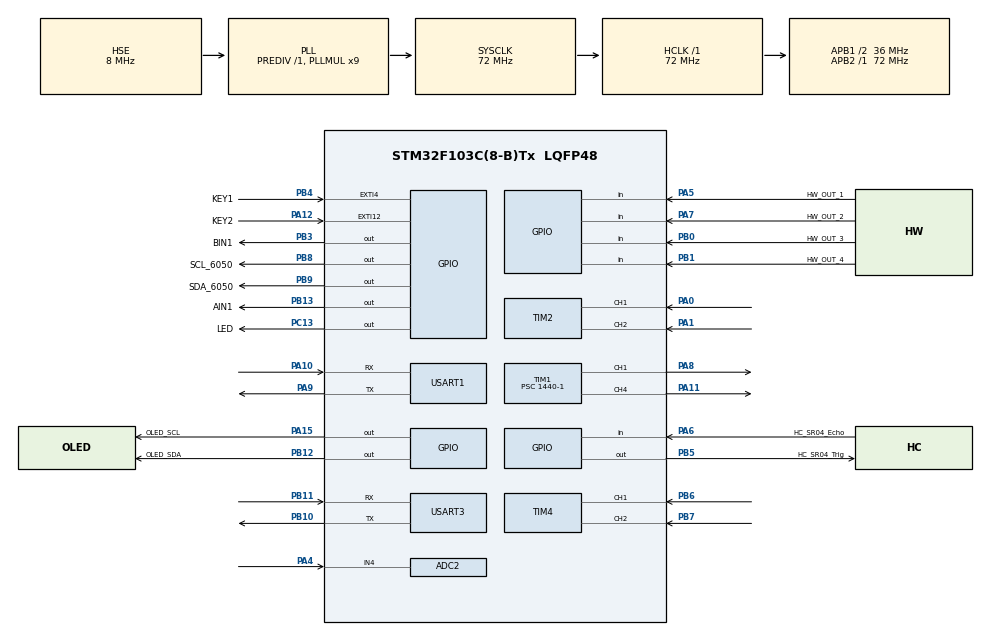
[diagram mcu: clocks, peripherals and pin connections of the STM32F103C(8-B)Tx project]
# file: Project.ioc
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ADC2.Channel-0\#ChannelRegularConversion=ADC_CHANNEL_4
ADC2.NbrOfConversionFlag=1
ADC2.Rank-0\#ChannelRegularConversion=1
ADC2.SamplingTime-0\#ChannelRegularConversion=ADC_SAMPLETIME_13CYCLES_5
FREERTOS.BinarySemaphores01=KeySem,Dynamic,NULL,Depleted
FREERTOS.INCLUDE_uxTaskGetStackHighWaterMark=1
FREERTOS.Mutexes01=OLED_Mutex,Dynamic,NULL,Available
FREERTOS.Queues01=ModeQueue,16,int8_t,0,Dynamic,NULL,NULL;UltrasonicQueue,16,uint32_t,0,Dynamic,NULL,NULL
FREERTOS.Tasks01=StopTask,2,128,StartStopTask,Default,NULL,Dynamic,NULL,NULL;InputTask,1,128,StartInputTask,Default,NULL,Dynamic,NULL,NULL;OLEDTask,-1,200,StartOLEDTask,Default,NULL,Dynamic,NULL,NULL;MultiModeTask,0,156,StartMultiModTask,Default,NULL,Dynamic,NULL,NULL
FREERTOS.configTOTAL_HEAP_SIZE=3500
Mcu.Family=STM32F1
Mcu.Name=STM32F103C(8-B)Tx
Mcu.Package=LQFP48
NVIC.EXTI15_10_IRQn=true\:5\:0\:true\:false\:true\:true\:true\:true\:true
NVIC.EXTI4_IRQn=true\:5\:0\:true\:false\:true\:true\:true\:true\:true
NVIC.PriorityGroup=NVIC_PRIORITYGROUP_4
NVIC.TIM1_UP_IRQn=true\:5\:0\:false\:false\:true\:true\:true\:true\:true
NVIC.TIM2_IRQn=true\:5\:0\:false\:false\:true\:true\:true\:true\:true
NVIC.TIM3_IRQn=true\:15\:0\:false\:false\:true\:false\:false\:true\:true
NVIC.TIM4_IRQn=true\:5\:0\:false\:false\:true\:true\:true\:true\:true
NVIC.TimeBase=TIM3_IRQn
NVIC.TimeBaseIP=TIM3
NVIC.USART1_IRQn=true\:5\:0\:false\:false\:true\:true\:true\:true\:true
NVIC.USART3_IRQn=true\:5\:0\:false\:false\:true\:true\:true\:true\:true
PA0-WKUP.GPIO_PuPd=GPIO_PULLUP
PA0-WKUP.Signal=S_TIM2_CH1_ETR
PA1.GPIO_PuPd=GPIO_PULLUP
PA1.Signal=S_TIM2_CH2
PA10.Mode=Asynchronous
PA10.Signal=USART1_RX
PA11.Signal=S_TIM1_CH4
PA12.GPIO_Label=KEY2
PA12.GPIO_PuPd=GPIO_PULLUP
PA12.Signal=GPXTI12
PA13.Mode=Serial_Wire
PA13.Signal=SYS_JTMS-SWDIO
PA14.Mode=Serial_Wire
PA14.Signal=SYS_JTCK-SWCLK
PA15.GPIO_Label=OLED_SCL
PA15.GPIO_PuPd=GPIO_PULLUP
PA15.PinState=GPIO_PIN_SET
PA15.Signal=GPIO_Output
PA4.Signal=ADCx_IN4
PA5.GPIO_Label=HW_OUT_1
PA5.Signal=GPIO_Input
PA6.GPIO_Label=HC_SR04_Echo
PA6.Signal=GPIO_Input
PA7.GPIO_Label=HW_OUT_2
PA7.Signal=GPIO_Input
PA8.Signal=S_TIM1_CH1
PA9.Mode=Asynchronous
PA9.Signal=USART1_TX
PB0.GPIO_Label=HW_OUT_3
PB0.Signal=GPIO_Input
PB1.GPIO_Label=HW_OUT_4
PB1.Signal=GPIO_Input
PB10.Mode=Asynchronous
PB10.Signal=USART3_TX
PB11.Mode=Asynchronous
PB11.Signal=USART3_RX
PB12.GPIO_Label=OLED_SDA
PB12.GPIO_PuPd=GPIO_PULLUP
PB12.PinState=GPIO_PIN_SET
PB12.Signal=GPIO_Output
PB13.GPIO_Label=AIN1
PB13.Signal=GPIO_Output
PB3.GPIO_Label=BIN1
PB3.Signal=GPIO_Output
PB4.GPIO_Label=KEY1
PB4.GPIO_PuPd=GPIO_PULLDOWN
PB4.Signal=GPXTI4
PB5.GPIO_Label=HC_SR04_Trig
PB5.Signal=GPIO_Output
PB6.GPIO_PuPd=GPIO_PULLUP
PB6.Signal=S_TIM4_CH1
PB7.GPIO_PuPd=GPIO_PULLUP
PB7.Signal=S_TIM4_CH2
PB8.GPIO_Label=SCL_6050
PB8.PinState=GPIO_PIN_SET
PB8.Signal=GPIO_Output
PB9.GPIO_Label=SDA_6050
PB9.PinState=GPIO_PIN_SET
PB9.Signal=GPIO_Output
PC13-TAMPER-RTC.GPIO_Label=LED
PC13-TAMPER-RTC.Signal=GPIO_Output
PD0-OSC_IN.Mode=HSE-External-Oscillator
PD0-OSC_IN.Signal=RCC_OSC_IN
PD1-OSC_OUT.Mode=HSE-External-Oscillator
PD1-OSC_OUT.Signal=RCC_OSC_OUT
ProjectManager.HeapSize=0x800
ProjectManager.StackSize=0x800
ProjectManager.TargetToolchain=CMake
RCC.ADCPresc=RCC_ADCPCLK2_DIV6
RCC.AHBFreq_Value=72000000
RCC.APB1CLKDivider=RCC_HCLK_DIV2
RCC.APB1Freq_Value=36000000
RCC.APB1TimFreq_Value=72000000
RCC.APB2Freq_Value=72000000
RCC.APB2TimFreq_Value=72000000
RCC.HCLKFreq_Value=72000000
RCC.PLLMUL=RCC_PLL_MUL9
RCC.PLLSourceVirtual=RCC_PLLSOURCE_HSE
RCC.SYSCLKFreq_VALUE=72000000
RCC.SYSCLKSource=RCC_SYSCLKSOURCE_PLLCLK
RCC.USBFreq_Value=72000000
SH.ADCx_IN4.0=ADC2_IN4,IN4
SH.S_TIM1_CH1.0=TIM1_CH1,PWM Generation1 CH1
SH.S_TIM1_CH4.0=TIM1_CH4,PWM Generation4 CH4
SH.S_TIM2_CH1_ETR.0=TIM2_CH1,Encoder_Interface
SH.S_TIM2_CH2.0=TIM2_CH2,Encoder_Interface
SH.S_TIM4_CH1.0=TIM4_CH1,Encoder_Interface
SH.S_TIM4_CH2.0=TIM4_CH2,Encoder_Interface
TIM1.AutoReloadPreload=TIM_AUTORELOAD_PRELOAD_ENABLE
TIM1.Channel-PWM\ Generation1\ CH1=TIM_CHANNEL_1
TIM1.Channel-PWM\ Generation4\ CH4=TIM_CHANNEL_4
TIM1.Period=100-1
TIM1.Prescaler=1440-1
TIM1.Pulse-PWM\ Generation1\ CH1=50
TIM1.Pulse-PWM\ Generation4\ CH4=50
TIM2.EncoderMode=TIM_ENCODERMODE_TI12
TIM2.IC1Filter=6
TIM4.EncoderMode=TIM_ENCODERMODE_TI12
TIM4.IC1Filter=6
USART1.VirtualMode=VM_ASYNC
USART3.VirtualMode=VM_ASYNC
VP_FREERTOS_VS_CMSIS_V1.Mode=CMSIS_V1
VP_SYS_VS_tim3.Mode=TIM3
VP_TIM1_VS_ClockSourceINT.Mode=Internal
board=custom

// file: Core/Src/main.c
/* USER CODE BEGIN Header */
/**
  ******************************************************************************
  * @file           : main.c
  * @brief          : Main program body
  ******************************************************************************
  * @attention
  *
  * Copyright (c) 2026 STMicroelectronics.
  * All rights reserved.
  *
  * This software is licensed under terms that can be found in the LICENSE file
  * in the root directory of this software component.
  * If no LICENSE file comes with this software, it is provided AS-IS.
  *
  ******************************************************************************
  */
/* USER CODE END Header */
#include "main.h"
#include "cmsis_os.h"
#include "adc.h"
#include "tim.h"
#include "usart.h"
#include "gpio.h"

/* USER CODE BEGIN Includes */
#include "oled.h"
#include <stdint.h>
#include <stdio.h>
#include "Motor.h"
#include "PID.h"
#include "mpu6050.h"
#include "inv_mpu.h"
#include "inv_mpu_dmp_motion_driver.h"
#include <string.h>
/* USER CODE END Includes */

/* USER CODE BEGIN PD */
void OLED_Show_base(void);
/* USER CODE END PD */

/* USER CODE BEGIN PM */
// 外部声明OLED互斥锁（在freertos.c中定义）
extern osMutexId OLED_MutexHandle;

short Encoder1Count = 0;
short Encoder2Count = 0;
float Motor1Speed = 0.00;
float Motor2Speed = 0.00;
int Motor1PWM = 0;
int Motor2PWM = 0;
float Mileage;
uint16_t TimerCount = 0;

uint8_t Usart1_ReadBuf[256];	//串口1 缓冲数组
uint8_t Usart1_ReadCount = 0;	//串口1 接收字节计数
uint8_t Usart3ReceiveData;  //保存串口三接收的数据

float p,i,d,a;

uint8_t OledString[50];
uint8_t Usart3String[50];

float pitch,roll,yaw; // 俯仰角 横滚角 航向角

volatile int8_t carmode;
/* USER CODE END PM */

/* USER CODE BEGIN PV */
extern tPid pidMotor1Speed;
extern tPid pidMotor2Speed;
/* USER CODE END PV */

void SystemClock_Config(void);
void MX_FREERTOS_Init(void);

int main(void)
{

  /* MCU Configuration--------------------------------------------------------*/

  /* Reset of all peripherals, Initializes the Flash interface and the Systick. */
  HAL_Init();

  /* USER CODE BEGIN Init */
	PID_init();
  /* USER CODE END Init */

  /* Configure the system clock */
  SystemClock_Config();

  /* Initialize all configured peripherals */
  MX_GPIO_Init();
  MX_USART1_UART_Init();
  MX_TIM1_Init();
  MX_TIM2_Init();
  MX_TIM4_Init();
  MX_ADC2_Init();
  MX_USART3_UART_Init();
  /* USER CODE BEGIN 2 */
	OLED_Init();
	OLED_Clear();

	HAL_TIM_Base_Start_IT(&htim1);                //开启定时器1 中断
	__HAL_UART_ENABLE_IT(&huart1,UART_IT_RXNE);	//开启串口1接收中断
	HAL_UART_Receive_IT(&huart3,&Usart3ReceiveData,1);

	HAL_TIM_PWM_Start(&htim1,TIM_CHANNEL_1);//开启定时器1 通道1 PWM输出
	HAL_TIM_PWM_Start(&htim1,TIM_CHANNEL_4);//开启定时器1 通道4 PWM输出

	HAL_TIM_Encoder_Start(&htim2,TIM_CHANNEL_ALL);//开启定时器2
	HAL_TIM_Encoder_Start(&htim4,TIM_CHANNEL_ALL);//开启定时器4
	HAL_TIM_Base_Start_IT(&htim2);				//开启定时器2 中断
	HAL_TIM_Base_Start_IT(&htim4);        //开启定时器4 中断

  HAL_Delay(500);//延时0.5秒 6050上电稳定后初始化
  MPU_Init(); //初始化MPU6050
  while(MPU_Init()!=0);
  while(mpu_dmp_init()!=0);

	//motorPidSetSpeed(-1,-1);

  /* USER CODE END 2 */

  /* Call init function for freertos objects (in cmsis_os2.c) */
  MX_FREERTOS_Init();

  /* Start scheduler */
  osKernelStart();

  /* We should never get here as control is now taken by the scheduler */

  /* Infinite loop */
  while (1)
  {

    /* USER CODE BEGIN 3 */
    // 注意：osKernelStart()后此循环不会执行，所有逻辑已移至MultiModeTask
  }
  /* USER CODE END 3 */
}

void SystemClock_Config(void)
{
  RCC_OscInitTypeDef RCC_OscInitStruct = {0};
  RCC_ClkInitTypeDef RCC_ClkInitStruct = {0};
  RCC_PeriphCLKInitTypeDef PeriphClkInit = {0};

  /** Initializes the RCC Oscillators according to the specified parameters
  * in the RCC_OscInitTypeDef structure.
  */
  RCC_OscInitStruct.OscillatorType = RCC_OSCILLATORTYPE_HSE;
  RCC_OscInitStruct.HSEState = RCC_HSE_ON;
  RCC_OscInitStruct.HSEPredivValue = RCC_HSE_PREDIV_DIV1;
  RCC_OscInitStruct.HSIState = RCC_HSI_ON;
  RCC_OscInitStruct.PLL.PLLState = RCC_PLL_ON;
  RCC_OscInitStruct.PLL.PLLSource = RCC_PLLSOURCE_HSE;
  RCC_OscInitStruct.PLL.PLLMUL = RCC_PLL_MUL9;
  if (HAL_RCC_OscConfig(&RCC_OscInitStruct) != HAL_OK)
  {
    Error_Handler();
  }

  /** Initializes the CPU, AHB and APB buses clocks
  */
  RCC_ClkInitStruct.ClockType = RCC_CLOCKTYPE_HCLK|RCC_CLOCKTYPE_SYSCLK
                              |RCC_CLOCKTYPE_PCLK1|RCC_CLOCKTYPE_PCLK2;
  RCC_ClkInitStruct.SYSCLKSource = RCC_SYSCLKSOURCE_PLLCLK;
  RCC_ClkInitStruct.AHBCLKDivider = RCC_SYSCLK_DIV1;
  RCC_ClkInitStruct.APB1CLKDivider = RCC_HCLK_DIV2;
  RCC_ClkInitStruct.APB2CLKDivider = RCC_HCLK_DIV1;

  if (HAL_RCC_ClockConfig(&RCC_ClkInitStruct, FLASH_LATENCY_2) != HAL_OK)
  {
    Error_Handler();
  }
  PeriphClkInit.PeriphClockSelection = RCC_PERIPHCLK_ADC;
  PeriphClkInit.AdcClockSelection = RCC_ADCPCLK2_DIV6;
  if (HAL_RCCEx_PeriphCLKConfig(&PeriphClkInit) != HAL_OK)
  {
    Error_Handler();
  }
}

/* USER CODE BEGIN 4 */

/*******************
*  @brief  OLED基本显示函数
*  @param
*  @return
*
*******************/
void OLED_Show_base(void)
{
  //OLED_Clear();
  sprintf((char *)OledString,"V1:%.2fV2:%.2f",Motor1Speed,Motor2Speed);//显示两个电机的速度
  OLED_ShowString(0,0,OledString,12);

  sprintf((char *)OledString,"Mileage:%.2f   ",Mileage);//显示里程数
  OLED_ShowString(0,1,OledString,12);

  sprintf((char*)OledString, "U:%.2fV", adcGetBatteryVoltage());//显示电池电压
  OLED_ShowString(0,2,OledString,12);
}

/* USER CODE END 4 */

void HAL_TIM_PeriodElapsedCallback(TIM_HandleTypeDef *htim)
{
  /* USER CODE BEGIN Callback 0 */
	if(htim == &htim1)//htim1 500HZ  2ms 中断一次
	{
		TimerCount++;
		if(TimerCount %5 == 0)//每10ms执行一次
		{
			Encoder1Count = (short)__HAL_TIM_GET_COUNTER(&htim2);
			Encoder2Count = -(short)__HAL_TIM_GET_COUNTER(&htim4);
			//清零计数值
			__HAL_TIM_SET_COUNTER(&htim2,0);
			__HAL_TIM_SET_COUNTER(&htim4,0);

			//Motor1Speed 最大值 ≈ 10.4（rps）
			Motor1Speed = (float)Encoder1Count*100/9.6/11/4;
			Motor2Speed = (float)Encoder2Count*100/9.6/11/4;

		}
		if(TimerCount %10 ==0)//每20ms一次
		{
		 /*里程数(cm) += 时间周期（s）*车轮转速(转/s)*车轮周长(cm)*/
		  Mileage += 0.02*Motor1Speed*22;

		  Motor_Set(PID_realize(&pidMotor1Speed,Motor1Speed),PID_realize(&pidMotor2Speed,Motor2Speed));
		  TimerCount=0;

		}
	}

  /* USER CODE END Callback 0 */
  if (htim->Instance == TIM3)
  {
    HAL_IncTick();
  }
}

void Error_Handler(void)
{
  __disable_irq();
  while (1)
  {
  }
}

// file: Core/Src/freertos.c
/* USER CODE BEGIN Header */
/**
  ******************************************************************************
  * File Name          : freertos.c
  * Description        : Code for freertos applications
  ******************************************************************************
  * @attention
  *
  * Copyright (c) 2026 STMicroelectronics.
  * All rights reserved.
  *
  * This software is licensed under terms that can be found in the LICENSE file
  * in the root directory of this software component.
  * If no LICENSE file comes with this software, it is provided AS-IS.
  *
  ******************************************************************************
  */
/* USER CODE END Header */

#include "FreeRTOS.h"
#include "task.h"
#include "main.h"
#include "cmsis_os.h"

/* USER CODE BEGIN Includes */
#include "oled.h"
#include "stdio.h"
#include "motor.h"
#include "pid.h"

#include <string.h>
#include "Sonic.h"

#include "mpu6050.h"
#include "inv_mpu.h"
#include "inv_mpu_dmp_motion_driver.h"

#include "adc.h"
#include "usart.h"
#include "gpio.h"
#include "joystick.h"
/* USER CODE END Includes */

/* USER CODE BEGIN Variables */
volatile uint16_t lastKeyPin = 0;  // 记录最近触发的按键
/* USER CODE END Variables */
osThreadId StopTaskHandle;
osThreadId InputTaskHandle;
osThreadId OLEDTaskHandle;
osThreadId MultiModeTaskHandle;
osMessageQId ModeQueueHandle;
osMessageQId UltrasonicQueueHandle;
osMutexId OLED_MutexHandle;
osSemaphoreId KeySemHandle;

/* USER CODE BEGIN FunctionPrototypes */

/**
  * @brief  清理当前运行模式的资源（停止电机、复位状态等）
  * @param  oldMode: 即将离开的模式值
  * @retval None
  */
void CleanupCurrentMode(int8_t oldMode)
{
	// 所有模式共有操作：停止电机
	motorPidSetSpeed(0, 0);
	osDelay(50);  // 使用软延迟，避免阻塞其他任务
}

static void UpdateMPUData(void)
{
  uint8_t mpu_retry = 0; // MPU6050重试计数

  while(mpu_retry < 20 && mpu_dmp_get_data(&pitch, &roll, &yaw) != 0)
  {
    osDelay(5);
    mpu_retry++;
  }
}

/* USER CODE END FunctionPrototypes */

void StartStopTask(void const * argument);
void StartInputTask(void const * argument);
void StartOLEDTask(void const * argument);
void StartMultiModTask(void const * argument);

void MX_FREERTOS_Init(void); /* (MISRA C 2004 rule 8.1) */

/* GetIdleTaskMemory prototype (linked to static allocation support) */
void vApplicationGetIdleTaskMemory( StaticTask_t **ppxIdleTaskTCBBuffer, StackType_t **ppxIdleTaskStackBuffer, uint32_t *pulIdleTaskStackSize );

/* USER CODE BEGIN GET_IDLE_TASK_MEMORY */
static StaticTask_t xIdleTaskTCBBuffer;
static StackType_t xIdleStack[configMINIMAL_STACK_SIZE];

void vApplicationGetIdleTaskMemory( StaticTask_t **ppxIdleTaskTCBBuffer, StackType_t **ppxIdleTaskStackBuffer, uint32_t *pulIdleTaskStackSize )
{
  *ppxIdleTaskTCBBuffer = &xIdleTaskTCBBuffer;
  *ppxIdleTaskStackBuffer = &xIdleStack[0];
  *pulIdleTaskStackSize = configMINIMAL_STACK_SIZE;
  /* place for user code */
}
/* USER CODE END GET_IDLE_TASK_MEMORY */

void MX_FREERTOS_Init(void) {
  /* Create the mutex(es) */
  /* definition and creation of OLED_Mutex */
  osMutexDef(OLED_Mutex);
  OLED_MutexHandle = osMutexCreate(osMutex(OLED_Mutex));

  /* Create the semaphores(s) */
  /* definition and creation of KeySem */
  osSemaphoreDef(KeySem);
  KeySemHandle = osSemaphoreCreate(osSemaphore(KeySem), 1);

  /* Create the queue(s) */
  /* definition and creation of ModeQueue */
  osMessageQDef(ModeQueue, 16, int8_t);
  ModeQueueHandle = osMessageCreate(osMessageQ(ModeQueue), NULL);

  /* definition and creation of UltrasonicQueue */
  osMessageQDef(UltrasonicQueue, 16, uint32_t);
  UltrasonicQueueHandle = osMessageCreate(osMessageQ(UltrasonicQueue), NULL);

  /* Create the thread(s) */
  /* definition and creation of StopTask */
  osThreadDef(StopTask, StartStopTask, osPriorityHigh, 0, 128);
  StopTaskHandle = osThreadCreate(osThread(StopTask), NULL);

  /* definition and creation of InputTask */
  osThreadDef(InputTask, StartInputTask, osPriorityAboveNormal, 0, 128);
  InputTaskHandle = osThreadCreate(osThread(InputTask), NULL);

  /* definition and creation of OLEDTask */
  osThreadDef(OLEDTask, StartOLEDTask, osPriorityBelowNormal, 0, 200);
  OLEDTaskHandle = osThreadCreate(osThread(OLEDTask), NULL);

  /* definition and creation of MultiModeTask */
  osThreadDef(MultiModeTask, StartMultiModTask, osPriorityNormal, 0, 156);
  MultiModeTaskHandle = osThreadCreate(osThread(MultiModeTask), NULL);

}

void StartStopTask(void const * argument)
{
  /* USER CODE BEGIN StartStopTask */

  /* Infinite loop */
  for(;;)
  {
    if(carmode == 0)
    {
      motorPidSetSpeed(0,0);  // 设置小车速度为0
    }

    osDelay(10);
  }
  /* USER CODE END StartStopTask */
}

void StartInputTask(void const * argument)
{
  /* USER CODE BEGIN StartInputTask */

  osSemaphoreWait(KeySemHandle, 0);  // 先清空初值

  /* Infinite loop */
  for(;;)
  {
		UBaseType_t stackHighWaterMark = uxTaskGetStackHighWaterMark(NULL);// 获取当前任务的栈高水位值
		printf("StartInputTask Mark: %u words\n", (unsigned int)stackHighWaterMark);
		size_t freeHeapSize = xPortGetFreeHeapSize();// 获取系统的可用堆空间
		printf("StartInputTask Free Heap Size: %u bytes\n", (unsigned int)freeHeapSize);

    // 阻塞等待按键中断释放的信号量
    if(osSemaphoreWait(KeySemHandle, osWaitForever) == osOK)
    {
      // 软防抖：用osDelay替代HAL_Delay
      osDelay(20);

      // 根据记录的按键类型处理
      if(lastKeyPin == KEY1_Pin)  // KEY1: 循环切换模式
      {
        // 模式循环：1→2→3→4→5→1（模式0是停止，不在循环中）
        carmode = (carmode % 5) + 1;
        //printf("InputTask: KEY1 pressed - Mode: %d\r\n", carmode);
      }
      else if(lastKeyPin == KEY2_Pin)  // KEY2: 停止
      {
        carmode = 0;
      }

      // 防止连续触发：等待用户松开按键
      osDelay(200);
      while(osSemaphoreWait(KeySemHandle, 0) == osOK)
      {
      }
    }
  }
  /* USER CODE END StartInputTask */
}

void StartOLEDTask(void const * argument)
{
  /* USER CODE BEGIN StartOLEDTask */
  /* Infinite loop */
  for(;;)
  {
    // 获取OLED互斥锁，保护显示硬件不被多任务并发访问
    osMutexWait(OLED_MutexHandle, osWaitForever);

    // 所有OLED显示操作都在互斥锁保护下进行
    OLED_Show_base();

    sprintf((char *)OledString,"HC_SR04:%.2fcm\r\n",HC_SR04_ReadBuf);
    OLED_ShowString(0,3,OledString,12);

    sprintf((char *)OledString,"p:%.2f r:%.2f \r\n",pitch,roll);
    OLED_ShowString(0,4,OledString,12);

    sprintf((char *)OledString,"y:%.2f  \r\n",yaw);
    OLED_ShowString(0,5,OledString,12);

    sprintf((char *)OledString,"carmode:%d  \r\n",carmode);
    OLED_ShowString(0,6,OledString,12);

    // 释放OLED互斥锁
    osMutexRelease(OLED_MutexHandle);

    // UART发送
    sprintf((char *)Usart3String,"V1:%.2fV2:%.2f\r\n",Motor1Speed,Motor2Speed);
    HAL_UART_Transmit(&huart3,( uint8_t *)Usart3String,strlen(( const  char  *)Usart3String),50);

    sprintf((char *)Usart3String,"Mileage%.2f\r\n",Mileage);
    HAL_UART_Transmit(&huart3,( uint8_t *)Usart3String,strlen(( const  char  *)Usart3String),50);

    sprintf((char *)Usart3String,"U:%.2fV\r\n",adcGetBatteryVoltage());
    HAL_UART_Transmit(&huart3,( uint8_t *)Usart3String,strlen(( const  char  *)Usart3String),50);

    sprintf((char *)Usart3String,"HC_SR04:%.2fcm\r\n",HC_SR04_ReadBuf);
    HAL_UART_Transmit(&huart3,( uint8_t *)Usart3String,strlen(( const  char  *)Usart3String),100);

    sprintf((char *)Usart3String,"pitch:%.2f roll:%.2f yaw:%.2f\r\n",pitch,roll,yaw);
    HAL_UART_Transmit(&huart3,( uint8_t *)Usart3String,strlen(( const  char  *)Usart3String),100);

    //刷新频率
    osDelay(100);
  }
  /* USER CODE END StartOLEDTask */
}

void StartMultiModTask(void const * argument)
{
  /* USER CODE BEGIN StartMultiModTask */
  int8_t lastExecutedMode = -1;  // 记录上一次执行的模式

  /* Infinite loop */
  for(;;)
  {
    // 模式改变时执行清理逻辑
    if(carmode != lastExecutedMode && lastExecutedMode >= 0)
    {
      CleanupCurrentMode(lastExecutedMode);
    }
    lastExecutedMode = carmode;

    // 根据carmode执行对应的模式
    switch(carmode)
    {
      case 0:  // 模式0：停止模式
        // 获得6050数据（添加超时保护）
        UpdateMPUData();
        HC_SR04_ReadBuf = HC_SR04_Read();

        motorPidSetSpeed(0,0);  // 停止电机
        osDelay(100);  //主动降频，减少重复发电机指令和 CPU 占用
        break;

      case 1:  // 模式1：蓝牙遥控模式
        // 获得6050数据（添加超时保护）
        UpdateMPUData();
				Joystick_Control();
			  osDelay(100);  //同1
        break;

      case 2:  // 模式2：PID循迹
        HW_PID_Tracking();  //闭环控制，希望更高刷新率，所以只吃循环末尾的 osDelay(1)
        break;

      case 3:  // 模式3：超声波避障
        Sonic_Avoid();  //函数内部本身有很多osDelay
        break;

      case 4:  // 模式4：超声波跟随
				UpdateMPUData();
        Sonic_Follow();
        break;

      case 5:  // 模式5：MPU6050走直线90°
        // 获得6050数据（添加超时保护）
        UpdateMPUData();

        MPU6050_GoStraight();  ////同2
        break;

      default:
        osDelay(10);  //兜底降频
        break;
    }

    osDelay(1);  // 防止任务饿死
  }
  /* USER CODE END StartMultiModTask */
}
